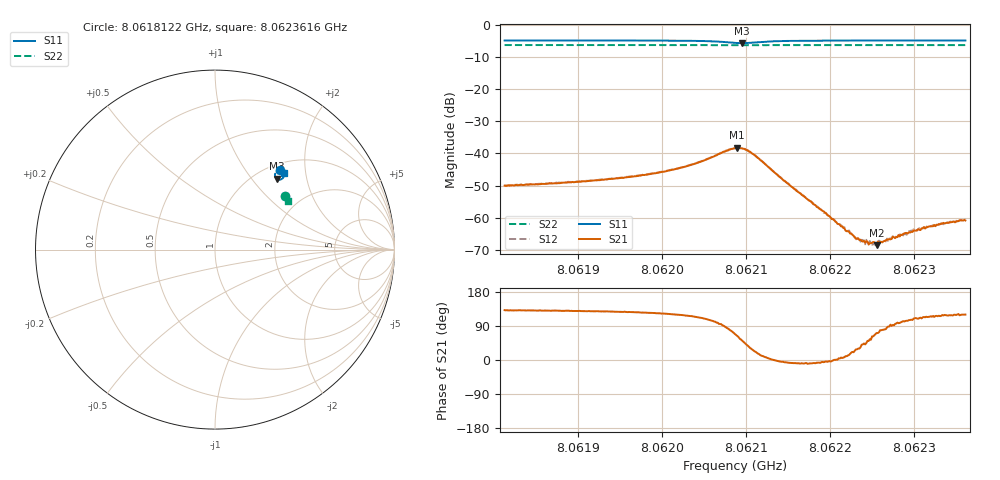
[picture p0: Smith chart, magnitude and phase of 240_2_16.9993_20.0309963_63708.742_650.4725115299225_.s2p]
#  HZ  S  RI  R  50.00
! Rohde & Schwarz Vector Network Analyzer
! Rohde-Schwarz,ZNB20-2Port,1311601062101988,3.16
! Created: UTC 3/20/2024, 11:02:50 PM
! freq[Hz]  re:S11  im:S11  re:S21  im:S21  re:S12  im:S12  re:S22  im:S22
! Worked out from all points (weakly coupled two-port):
!   401 points, 8.0618122 GHz to 8.0623616 GHz, reference 50 ohm
!   highest |S21| = -38.19 dB at 8.0620897 GHz (marker M1); lowest = -68.5 dB at 8.0622559 GHz (marker M2)
!   lowest |S11| = -5.6 dB at 8.0620952 GHz (marker M3), VSWR 3.19, Z = 61.7 + j67.2 ohm
!   |S11| at or under -10 dB: nowhere
!   |S22| runs from -6.3 to -6.2 dB; largest |S21 - S12| = 0.0009
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8.06181218e9  0.3646 0.4458  -0.00209 0.00236  -0.00196 0.00251  0.3883 0.2963
8.06190422e9  0.3714 0.4396  -0.0023 0.00284  -0.00218 0.003  0.3916 0.2917
8.06195367e9  0.3754 0.4352  -0.00248 0.00332  -0.00235 0.00351  0.3933 0.2892
8.06199625e9  0.3796 0.4296  -0.00276 0.00421  -0.00255 0.00445  0.3947 0.2868
8.06203883e9  0.3834 0.4185  -0.00283 0.00631  -0.00249 0.00653  0.3963 0.2844
8.06208691e9  0.3572 0.3895  0.00436 0.0112  0.00509 0.011  0.396 0.2812
8.06208966e9  0.3521 0.3903  0.00552 0.011  0.00623 0.0106  0.3958 0.2812
8.06209515e9  0.3427 0.3952  0.00742 0.00947  0.00804 0.00906  0.3958 0.2815
8.06210889e9  0.334 0.4174  0.00879 0.00412  0.00906 0.00373  0.3962 0.2819
8.06214598e9  0.3558 0.4393  0.00371 -0.000388  0.00371 -0.000639  0.3986 0.2807
8.06217894e9  0.3666 0.4385  0.00169 -0.000257  0.00168 -0.000322  0.4 0.2791
8.06221466e9  0.3733 0.4362  0.000727 6.48e-05  0.000735 9.27e-06  0.4016 0.277
8.06222977e9  0.3753 0.435  0.000449 0.000205  0.000474 0.000149  0.402 0.2764
8.06224762e9  0.3773 0.4337  0.00023 0.000327  0.000284 0.000327  0.4026 0.2754
8.06225587e9  0.3782 0.4332  0.000119 0.000356  0.000171 0.000355  0.4031 0.275
8.06226411e9  0.379 0.4326  7.52e-05 0.000423  8.76e-05 0.000388  0.4033 0.2746
8.06227098e9  0.3797 0.4323  1.31e-05 0.000461  5.55e-05 0.000471  0.4034 0.2743
8.06228334e9  0.3809 0.4314  -7.01e-05 0.000504  -3.74e-05 0.000541  0.4039 0.2736
8.06229021e9  0.3815 0.4311  -0.00013 0.000561  -9.1e-05 0.000549  0.4042 0.2733
8.06229707e9  0.382 0.4305  -0.000169 0.000576  -0.000138 0.000614  0.4043 0.2729
8.06233279e9  0.3847 0.4285  -0.000359 0.000718  -0.000307 0.000757  0.4054 0.2711
8.06236164e9  0.3868 0.4267  -0.00045 0.000782  -0.000442 0.000838  0.4065 0.2696
